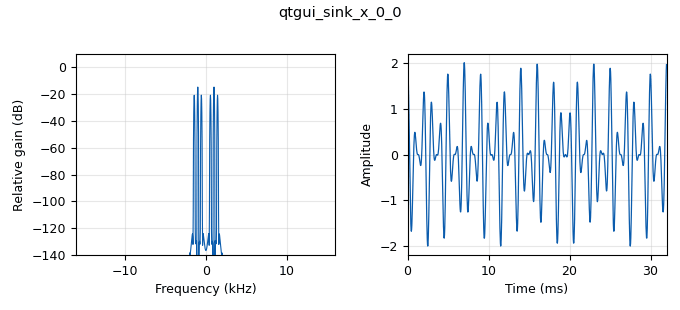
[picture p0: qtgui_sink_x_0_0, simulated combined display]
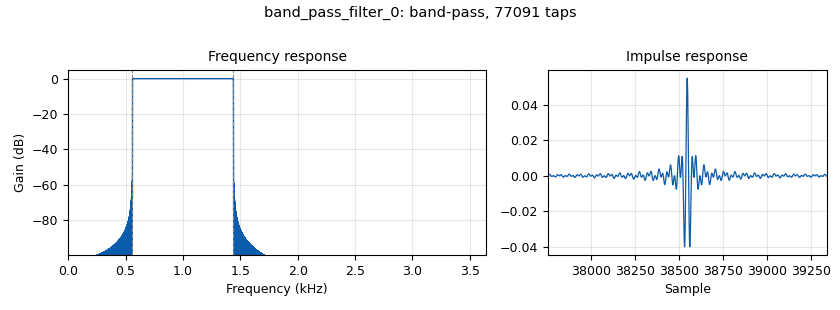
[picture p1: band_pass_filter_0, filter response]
options:
  parameters:
    generate_options: qt_gui
    id: untitled
    output_language: python
    title: Not titled yet
  states: {}

blocks:
- name: Ac
  id: variable
  parameters:
    value: '1'
  states: {}
- name: Am
  id: variable
  parameters:
    value: '1'
  states: {}
- name: fc
  id: variable
  parameters:
    value: '1000'
  states: {}
- name: fm
  id: variable
  parameters:
    value: '440'
  states: {}
- name: k
  id: variable
  parameters:
    value: 1/Am
  states: {}
- name: samp_rate
  id: variable
  parameters:
    value: '32000'
  states: {}
- name: analog_sig_source_x_0
  id: analog_sig_source_x
  parameters:
    amp: Am
    freq: fm
    offset: '0'
    phase: '0'
    samp_rate: samp_rate
    type: float
    waveform: analog.GR_COS_WAVE
  states: {}
- name: analog_sig_source_x_1
  id: analog_sig_source_x
  parameters:
    amp: '1'
    freq: fc
    offset: '0'
    phase: '0'
    samp_rate: samp_rate
    type: float
    waveform: analog.GR_COS_WAVE
  states: {}
- name: band_pass_filter_0
  id: band_pass_filter
  parameters:
    decim: '1'
    gain: '1'
    high_cutoff_freq: fc+fm
    low_cutoff_freq: fc-fm
    samp_rate: samp_rate
    type: fir_filter_fff
    width: '1'
    win: window.WIN_HAMMING
  states: {}
- name: blocks_add_const_vxx_0
  id: blocks_add_const_vxx
  parameters:
    const: '1'
    type: float
  states: {}
- name: blocks_multiply_const_vxx_0
  id: blocks_multiply_const_vxx
  parameters:
    const: k
    type: float
  states: {}
- name: blocks_multiply_xx_0
  id: blocks_multiply_xx
  parameters:
    type: float
  states: {}
- name: iio_pluto_sink_0
  id: iio_pluto_sink
  parameters:
    attenuation1: '10.0'
    bandwidth: '20000000'
    buffer_size: '32768'
    cyclic: 'False'
    filter_source: '''Auto'''
    frequency: '2400000000'
    samplerate: samp_rate
    type: fc32
  states: {}
- name: qtgui_sink_x_0_0
  id: qtgui_sink_x
  parameters:
    bw: samp_rate
    fc: '0'
    fftsize: '1024'
    type: float
  states: {}

connections:
- [analog_sig_source_x_0, '0', blocks_multiply_const_vxx_0, '0']
- [analog_sig_source_x_1, '0', blocks_multiply_xx_0, '1']
- [band_pass_filter_0, '0', iio_pluto_sink_0, '0']
- [blocks_add_const_vxx_0, '0', blocks_multiply_xx_0, '0']
- [blocks_multiply_const_vxx_0, '0', blocks_add_const_vxx_0, '0']
- [blocks_multiply_xx_0, '0', band_pass_filter_0, '0']
- [blocks_multiply_xx_0, '0', qtgui_sink_x_0_0, '0']

metadata:
  file_format: 1
  grc_version: 3.10.10.0
